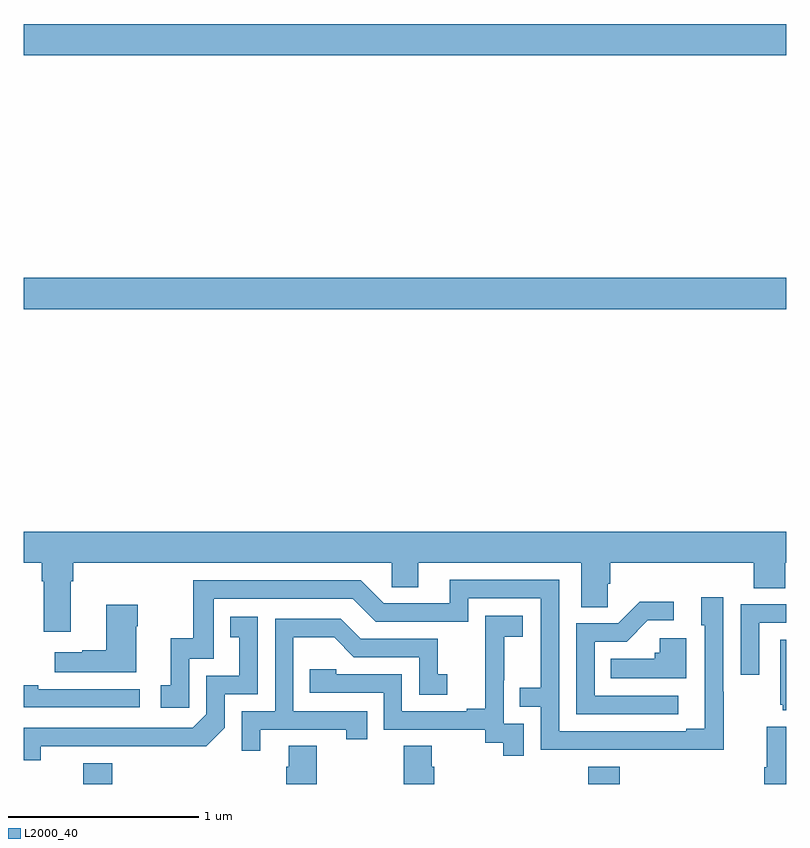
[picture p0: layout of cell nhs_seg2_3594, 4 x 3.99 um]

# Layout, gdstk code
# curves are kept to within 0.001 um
import gdstk
lib = gdstk.Library(unit=1e-6, precision=1e-09)
def R(c, l, rs):  # rectangles x0, y0, x1, y1
    for r in rs: c.add(gdstk.rectangle(r[:2], r[2:], *l))
def P(c, l, *ps):  # polygons
    for p in ps: c.add(gdstk.Polygon(p, *l))
L2000_40 = (2000, 40)

nhs_seg2_3594 = lib.new_cell('nhs_seg2_3594')
R(nhs_seg2_3594, L2000_40, [(299.312,655.8,299.465,655.909), (301.961,655.8,302.126,655.891), (299,658.292,303,658.456), (299,659.624,303,659.788)])
P(nhs_seg2_3594, L2000_40, [(299.245,656.864),(299.258,656.864),(299.258,656.96),(300.93,656.96),(300.93,656.833),(301.069,656.833),(301.069,656.96),(301.925,656.96),(301.925,656.728),(302.064,656.728),(302.064,656.851),(302.078,656.851),(302.078,656.96),(302.831,656.96),(302.831,656.827),(302.996,656.827),(302.996,656.96),(303,656.96),(303,657.124),(299,657.124),(299,656.96),(299.093,656.96),(299.093,656.864),(299.105,656.864),(299.105,656.598),(299.245,656.598)],
  [(302.673,656.285),(302.67,656.285),(302.67,656.779),(302.555,656.779),(302.555,656.634),(302.574,656.634),(302.574,656.089),(302.477,656.089),(302.477,656.076),(301.809,656.076),(301.809,656.871),(301.235,656.871),(301.235,656.748),(300.888,656.748),(300.768,656.868),(299.889,656.868),(299.889,656.566),(299.771,656.566),(299.771,656.319),(299.718,656.319),(299.718,656.199),(299.868,656.199),(299.868,656.457),(299.997,656.457),(299.997,656.772),(300.726,656.772),(300.846,656.652),(301.332,656.652),(301.332,656.775),(301.713,656.775),(301.713,656.306),(301.603,656.306),(301.603,656.205),(301.713,656.205),(301.713,655.98),(302.673,655.979)],
  [(302.434,656.262),(301.995,656.262),(301.995,656.547),(302.164,656.547),(302.275,656.658),(302.41,656.658),(302.41,656.756),(302.231,656.756),(302.118,656.643),(301.899,656.643),(301.899,656.166),(302.434,656.166)],
  [(302.859,656.646),(303,656.646),(303,656.742),(302.763,656.742),(302.763,656.373),(302.859,656.373)],
  [(299.59,656.627),(299.598,656.627),(299.598,656.74),(299.432,656.74),(299.432,656.501),(299.306,656.501),(299.306,656.491),(299.163,656.491),(299.163,656.387),(299.59,656.387)],
  [(301.623,656.115),(301.518,656.115),(301.518,656.345),(301.52,656.345),(301.52,656.573),(301.618,656.573),(301.618,656.683),(301.42,656.683),(301.42,656.477),(301.421,656.477),(301.421,656.194),(301.325,656.194),(301.325,656.181),(300.984,656.181),(300.984,656.376),(300.639,656.376),(300.639,656.403),(300.499,656.403),(300.499,656.28),(300.888,656.28),(300.888,656.085),(301.422,656.085),(301.422,656.017),(301.515,656.017),(301.515,655.947),(301.623,655.947)],
  [(299.088,655.998),(299.956,655.997),(300.054,656.094),(300.054,656.271),(300.228,656.271),(300.228,656.677),(300.082,656.677),(300.082,656.571),(300.131,656.571),(300.131,656.367),(299.958,656.367),(299.958,656.166),(299.886,656.094),(299,656.094),(299,655.925),(299.088,655.925)],
  [(300.241,656.085),(300.692,656.085),(300.692,656.034),(300.803,656.034),(300.803,656.181),(300.414,656.181),(300.414,656.57),(300.628,656.57),(300.732,656.466),(301.074,656.466),(301.074,656.268),(301.222,656.268),(301.222,656.377),(301.173,656.377),(301.173,656.562),(300.769,656.562),(300.664,656.667),(300.318,656.667),(300.318,656.181),(300.144,656.181),(300.144,655.974),(300.241,655.974)],
  [(302.476,656.566),(302.337,656.566),(302.337,656.49),(302.311,656.49),(302.311,656.458),(302.08,656.458),(302.08,656.354),(302.476,656.354)],
  [(303,656.557),(302.969,656.557),(302.969,656.217),(302.981,656.217),(302.981,656.186),(303,656.186)],
  [(299.608,656.298),(299.075,656.298),(299.075,656.318),(299,656.318),(299,656.202),(299.608,656.202)],
  [(303,656.101),(302.897,656.101),(302.897,655.888),(302.885,655.888),(302.885,655.8),(303,655.8)],
  [(301.154,655.89),(301.141,655.89),(301.141,656),(300.994,656),(300.994,655.8),(301.154,655.8)],
  [(300.537,656),(300.389,656),(300.389,655.89),(300.377,655.89),(300.377,655.8),(300.537,655.8)])

lib.write_gds('nhs_seg2_3594.gds')
